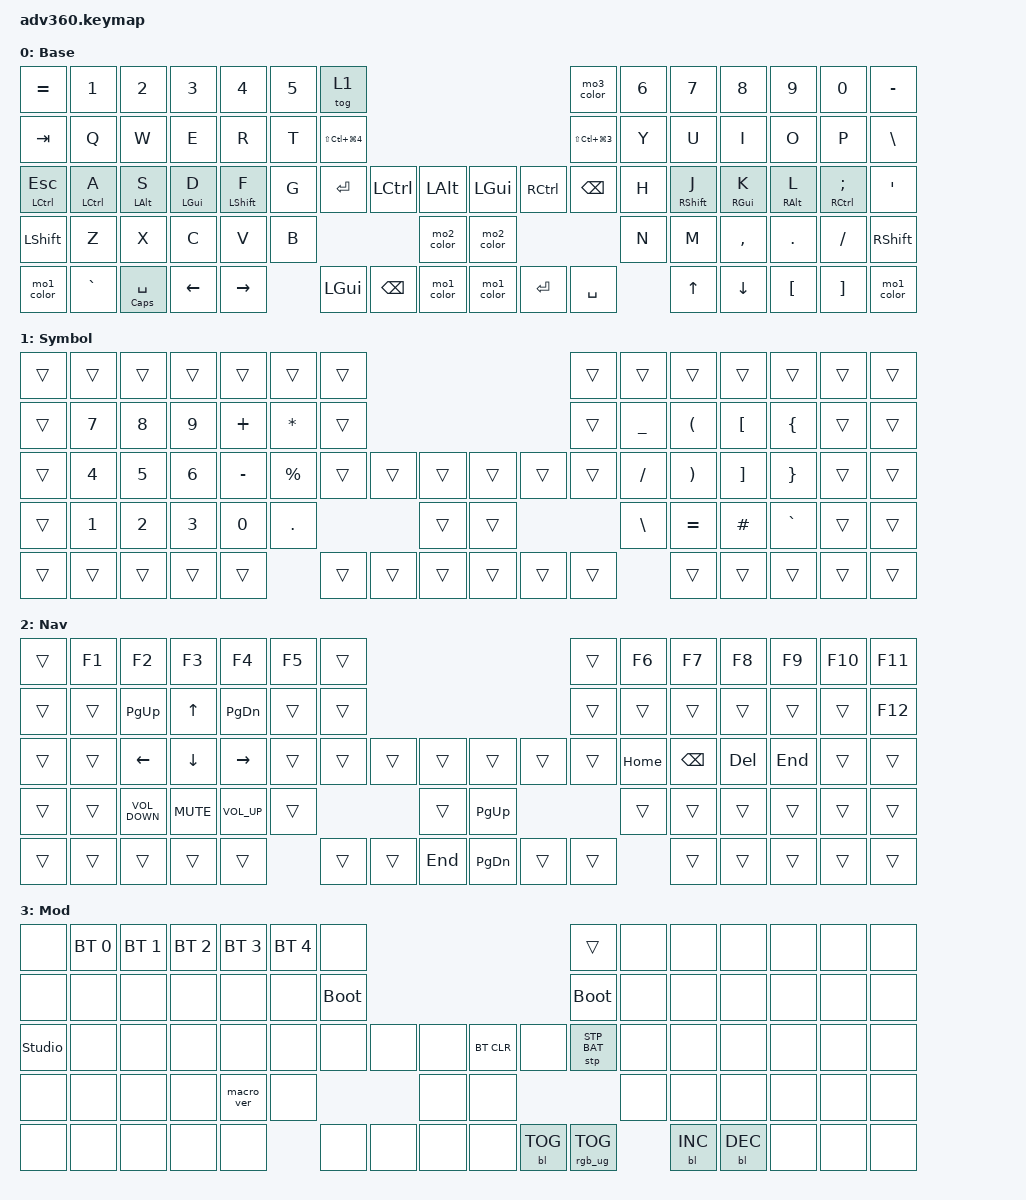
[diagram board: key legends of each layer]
/*
 * Zero-Pinky Layout for Kinesis Advantage 360 Pro
 * Configured by Moon for Chase — 2026-03-17
 *
 * Design: Home Row Mods + Symbol Layer + Navigation Layer
 * Goal: Zero static load on pinkies
 *
 * Key positions (for hold-trigger-key-positions):
 *   Left hand:  0-6, 14-20, 28-34, 46-51, 60-64
 *   Left thumb:  35, 36, 52, 65, 66, 67
 *   Right hand: 7-13, 21-27, 39-45, 54-59, 71-75
 *   Right thumb: 37, 38, 53, 68, 69, 70
 */

#include <dt-bindings/zmk/stp.h>
#include <behaviors.dtsi>
#include <dt-bindings/zmk/backlight.h>
#include <dt-bindings/zmk/bt.h>
#include <dt-bindings/zmk/keys.h>
#include <dt-bindings/zmk/rgb.h>

#define KEYS_L  0  1  2  3  4  5  6 14 15 16 17 18 19 20 28 29 30 31 32 33 34 46 47 48 49 50 51 60 61 62 63 64
#define THUMBS_L 35 36 52 65 66 67
#define KEYS_R  7  8  9 10 11 12 13 21 22 23 24 25 26 27 39 40 41 42 43 44 45 54 55 56 57 58 59 71 72 73 74 75
#define THUMBS_R 37 38 53 68 69 70

/ {
    behaviors {
        #include "macros.dtsi"
      #include "version.dtsi"

        /*
       * "Timeless" Home Row Mods (inspired by urob)
       *
       * tapping-term-ms = 280:  Generous window, no rush
       * quick-tap-ms = 175:    Same key double-tap → always letter
       * require-prior-idle-ms = 150: Just typed? → always letter (kills misfire)
       * flavor = "balanced":   Hold only if another key pressed+released
       * hold-trigger-key-positions: Opposite hand only (same-hand = always tap)
       * hold-trigger-on-release: Allows combining multiple mods on same hand
       */

        hml: homerow_mods_left {
            compatible = "zmk,behavior-hold-tap";
            label = "HOMEROW_MODS_LEFT";
            #binding-cells = <2>;
            tapping-term-ms = <200>;
            quick-tap-ms = <175>;
            require-prior-idle-ms = <500>;
            flavor = "balanced";
            bindings = <&kp>, <&kp>;

            hold-trigger-key-positions = <KEYS_R THUMBS_R>;
            hold-trigger-on-release;
        };

        hmr: homerow_mods_right {
            compatible = "zmk,behavior-hold-tap";
            label = "HOMEROW_MODS_RIGHT";
            #binding-cells = <2>;
            tapping-term-ms = <200>;
            quick-tap-ms = <175>;
            require-prior-idle-ms = <500>;
            flavor = "balanced";
            bindings = <&kp>, <&kp>;

            hold-trigger-key-positions = <KEYS_L THUMBS_L>;
            hold-trigger-on-release;
        };
    };

    keymap {
        compatible = "zmk,keymap";

        default_layer {
            display-name = "Base";
            bindings = <
&kp EQUAL         &kp N1        &kp N2          &kp N3       &kp N4        &kp N5  &tog 1                                                                &mo3_color          &kp N6  &kp N7        &kp N8       &kp N9       &kp N0           &kp MINUS
&kp TAB           &kp Q         &kp W           &kp E        &kp R         &kp T   &kp LS(LC(LG(N4)))                                                    &kp LS(LC(LG(N3)))  &kp Y   &kp U         &kp I        &kp O        &kp P            &kp BSLH
&mt LCTRL ESCAPE  &hml LCTRL A  &hml LALT S     &hml LGUI D  &hml LSHFT F  &kp G   &kp ENTER           &kp LCTRL  &kp LALT        &kp LGUI    &kp RCTRL  &kp BSPC            &kp H   &hmr RSHFT J  &hmr RGUI K  &hmr RALT L  &hmr RCTRL SEMI  &kp SQT
&kp LSHFT         &kp Z         &kp X           &kp C        &kp V         &kp B                                  &mo2_color      &mo2_color                                 &kp N   &kp M         &kp COMMA    &kp DOT      &kp FSLH         &kp RSHFT
&mo1_color        &kp GRAVE     &mt CAPS SPACE  &kp LEFT     &kp RIGHT             &kp LGUI            &kp BSPC   &mo1_color      &mo1_color  &kp ENTER  &kp SPACE                   &kp UP        &kp DOWN     &kp LBKT     &kp RBKT         &mo1_color
            >;
        };

        symbol_layer {
            display-name = "Symbol";
            bindings = <
&trans  &trans  &trans  &trans  &trans     &trans        &trans                                      &trans  &trans          &trans     &trans    &trans     &trans  &trans
&trans  &kp N7  &kp N8  &kp N9  &kp PLUS   &kp ASTERISK  &trans                                      &trans  &kp UNDERSCORE  &kp LPAR   &kp LBKT  &kp LBRC   &trans  &trans
&trans  &kp N4  &kp N5  &kp N6  &kp MINUS  &kp PERCENT   &trans  &trans  &trans      &trans  &trans  &trans  &kp FSLH        &kp RPAR   &kp RBKT  &kp RBRC   &trans  &trans
&trans  &kp N1  &kp N2  &kp N3  &kp N0     &kp DOT                       &trans      &trans                  &kp BSLH        &kp EQUAL  &kp HASH  &kp GRAVE  &trans  &trans
&trans  &trans  &trans  &trans  &trans                   &trans  &trans  &trans      &trans  &trans  &trans                  &trans     &trans    &trans     &trans  &trans
            >;
        };

        nav_layer {
            display-name = "Nav";
            bindings = <
&trans  &kp F1  &kp F2             &kp F3      &kp F4           &kp F5  &trans                                          &trans  &kp F6    &kp F7    &kp F8   &kp F9   &kp F10  &kp F11
&trans  &trans  &kp PG_UP          &kp UP      &kp PG_DN        &trans  &trans                                          &trans  &trans    &trans    &trans   &trans   &trans   &kp F12
&trans  &trans  &kp LEFT           &kp DOWN    &kp RIGHT        &trans  &trans  &trans  &trans       &trans     &trans  &trans  &kp HOME  &kp BSPC  &kp DEL  &kp END  &trans   &trans
&trans  &trans  &kp C_VOLUME_DOWN  &kp C_MUTE  &kp C_VOLUME_UP  &trans                  &trans       &kp PG_UP                  &trans    &trans    &trans   &trans   &trans   &trans
&trans  &trans  &trans             &trans      &trans                   &trans  &trans  &kp END      &kp PG_DN  &trans  &trans            &trans    &trans   &trans   &trans   &trans
            >;
        };

        mod {
            display-name = "Mod";
            bindings = <
&none           &bt BT_SEL 0  &bt BT_SEL 1  &bt BT_SEL 2  &bt BT_SEL 3  &bt BT_SEL 4  &none                                                  &trans           &none  &none       &none       &none  &none  &none
&none           &none         &none         &none         &none         &none         &bootloader                                            &bootloader      &none  &none       &none       &none  &none  &none
&studio_unlock  &none         &none         &none         &none         &none         &none        &none  &none      &bt BT_CLR  &none       &stp STP_BAT     &none  &none       &none       &none  &none  &none
&none           &none         &none         &none         &macro_ver    &none                             &none      &none                                    &none  &none       &none       &none  &none  &none
&none           &none         &none         &none         &none                       &none        &none  &none      &none       &bl BL_TOG  &rgb_ug RGB_TOG         &bl BL_INC  &bl BL_DEC  &none  &none  &none
            >;
        };

        extra1 {
            display-name = "Red";
            status = "reserved";
        };

        extra2 {
            display-name = "Purple";
            status = "reserved";
        };

        extra3 {
            display-name = "Cyan";
            status = "reserved";
        };

        extra4 {
            display-name = "Yellow";
            status = "reserved";
        };
    };
};
